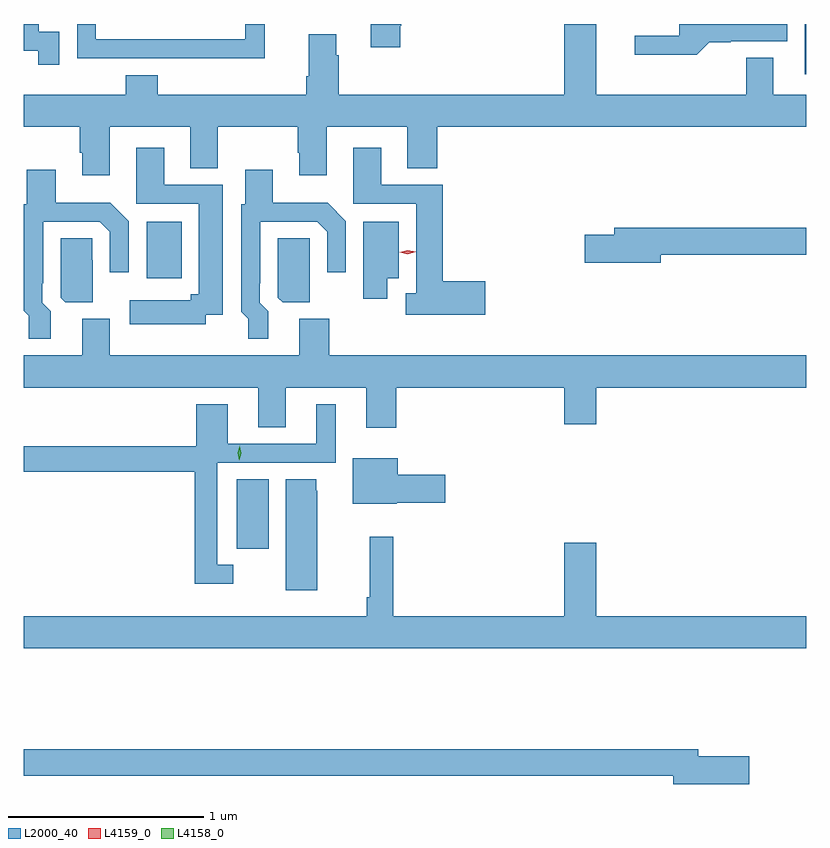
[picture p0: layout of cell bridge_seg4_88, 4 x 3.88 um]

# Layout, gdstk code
import gdstk
lib = gdstk.Library(unit=1e-6, precision=1e-09)
def R(c, l, rs):  # rectangles x0, y0, x1, y1
    for r in rs: c.add(gdstk.rectangle(r[:2], r[2:], *l))
def P(c, l, *ps):  # polygons
    for p in ps: c.add(gdstk.Polygon(p, *l))
L2000_40 = (2000, 40)
L4158_0 = (4158, 0)
L4159_0 = (4159, 0)

bridge_seg4_88 = lib.new_cell('bridge_seg4_88')
R(bridge_seg4_88, L2000_40, [(427.07,784.008,427.234,784.364), (426.611,785.39,426.79,785.68), (429.974,786.432,429.982,786.69)])
P(bridge_seg4_88, L2000_40, [(426.421,786.164),(426.833,786.164),(426.833,785.953),(426.973,785.953),(426.973,786.164),(427.384,786.164),(427.384,786.031),(427.391,786.031),(427.391,785.916),(427.531,785.916),(427.531,786.164),(427.943,786.164),(427.943,785.953),(428.096,785.953),(428.096,786.164),(429.982,786.164),(429.982,786.328),(429.814,786.328),(429.814,786.518),(429.674,786.518),(429.674,786.328),(428.908,786.328),(428.908,786.69),(428.744,786.69),(428.744,786.328),(427.592,786.328),(427.592,786.53),(427.579,786.53),(427.579,786.637),(427.439,786.637),(427.439,786.424),(427.427,786.424),(427.427,786.328),(426.668,786.328),(426.668,786.427),(426.503,786.427),(426.503,786.328),(425.982,786.328),(425.982,786.164),(426.269,786.164),(426.269,786.031),(426.281,786.031),(426.281,785.916),(426.421,785.916)],
  [(427.906,786.682),(427.913,786.682),(427.913,786.69),(427.757,786.69),(427.757,786.57),(427.906,786.57)],
  [(429.487,786.598),(429.595,786.598),(429.595,786.603),(429.885,786.603),(429.885,786.69),(429.333,786.69),(429.333,786.63),(429.105,786.63),(429.105,786.533),(429.422,786.533)],
  [(426.165,786.651),(426.06,786.651),(426.06,786.69),(425.982,786.69),(425.982,786.553),(426.057,786.553),(426.057,786.483),(426.165,786.483)],
  [(427.215,786.69),(427.115,786.69),(427.115,786.612),(426.351,786.612),(426.351,786.69),(426.255,786.69),(426.255,786.516),(426.751,786.516),(426.751,786.515),(427.215,786.515)],
  [(426.913,785.205),(427,785.205),(427,785.868),(426.7,785.868),(426.7,786.058),(426.557,786.058),(426.557,785.772),(426.878,785.772),(426.878,785.309),(426.837,785.309),(426.837,785.278),(426.525,785.278),(426.525,785.156),(426.913,785.156)],
  [(428.341,785.375),(428.123,785.375),(428.123,785.868),(427.81,785.868),(427.81,786.058),(427.667,786.058),(427.667,785.772),(427.988,785.772),(427.988,785.314),(427.935,785.314),(427.935,785.205),(428.341,785.205)],
  [(427.231,785.222),(427.188,785.265),(427.188,785.365),(427.191,785.365),(427.191,785.679),(427.482,785.679),(427.533,785.628),(427.533,785.421),(427.629,785.421),(427.629,785.682),(427.535,785.776),(427.255,785.776),(427.255,785.944),(427.115,785.944),(427.115,785.769),(427.095,785.769),(427.095,785.219),(427.13,785.184),(427.13,785.082),(427.231,785.082)],
  [(426.121,785.222),(426.078,785.265),(426.078,785.365),(426.081,785.365),(426.081,785.679),(426.372,785.679),(426.423,785.628),(426.423,785.421),(426.519,785.421),(426.519,785.682),(426.425,785.776),(426.145,785.776),(426.145,785.944),(425.998,785.944),(425.998,785.769),(425.982,785.769),(425.982,785.224),(426.009,785.198),(426.009,785.082),(426.121,785.082)],
  [(427.84,785.39),(427.9,785.39),(427.9,785.68),(427.718,785.68),(427.718,785.286),(427.84,785.286)],
  [(429.238,785.512),(429.982,785.512),(429.982,785.648),(428.999,785.648),(428.999,785.612),(428.85,785.612),(428.85,785.47),(429.238,785.47)],
  [(427.444,785.483),(427.443,785.483),(427.443,785.594),(427.281,785.594),(427.281,785.292),(427.305,785.269),(427.444,785.269)],
  [(426.334,785.483),(426.333,785.483),(426.333,785.594),(426.171,785.594),(426.171,785.292),(426.195,785.269),(426.334,785.269)],
  [(427.544,785.184),(427.391,785.184),(427.391,784.996),(426.421,784.996),(426.421,785.184),(426.281,785.184),(426.281,784.996),(425.982,784.996),(425.982,784.832),(427.181,784.832),(427.181,784.63),(427.321,784.63),(427.321,784.832),(427.733,784.832),(427.733,784.626),(427.886,784.626),(427.886,784.832),(428.744,784.832),(428.744,784.644),(428.908,784.644),(428.908,784.832),(429.982,784.832),(429.982,784.996),(427.544,784.996)],
  [(427.054,783.927),(426.972,783.927),(426.972,784.449),(427.576,784.449),(427.576,784.747),(427.478,784.747),(427.478,784.545),(427.024,784.545),(427.024,784.747),(426.863,784.747),(426.863,784.531),(425.982,784.531),(425.982,784.402),(426.856,784.402),(426.856,783.83),(427.054,783.83)],
  [(427.89,784.244),(428.137,784.244),(428.137,784.386),(427.894,784.386),(427.894,784.471),(427.664,784.471),(427.664,784.238),(427.89,784.238)],
  [(427.483,784.305),(427.477,784.305),(427.477,784.364),(427.322,784.364),(427.322,783.795),(427.483,783.795)],
  [(429.982,783.664),(428.908,783.664),(428.908,784.039),(428.744,784.039),(428.744,783.664),(427.871,783.664),(427.871,784.069),(427.75,784.069),(427.75,783.76),(427.735,783.76),(427.735,783.664),(425.982,783.664),(425.982,783.5),(429.982,783.5)],
  [(429.691,782.948),(429.43,782.948),(429.43,782.984),(425.982,782.984),(425.982,782.848),(429.302,782.848),(429.302,782.806),(429.691,782.806)])
P(bridge_seg4_88, L4158_0, [(427.083,784.461),(427.083,784.461),(427.075,784.498),(427.086,784.533),(427.086,784.534),(427.087,784.533),(427.095,784.497),(427.083,784.461)])
P(bridge_seg4_88, L4159_0, [(427.945,785.514),(427.904,785.523),(427.904,785.523),(427.904,785.523),(427.945,785.534),(427.985,785.525),(427.985,785.525),(427.985,785.525)])

lib.write_gds('bridge_seg4_88.gds')
